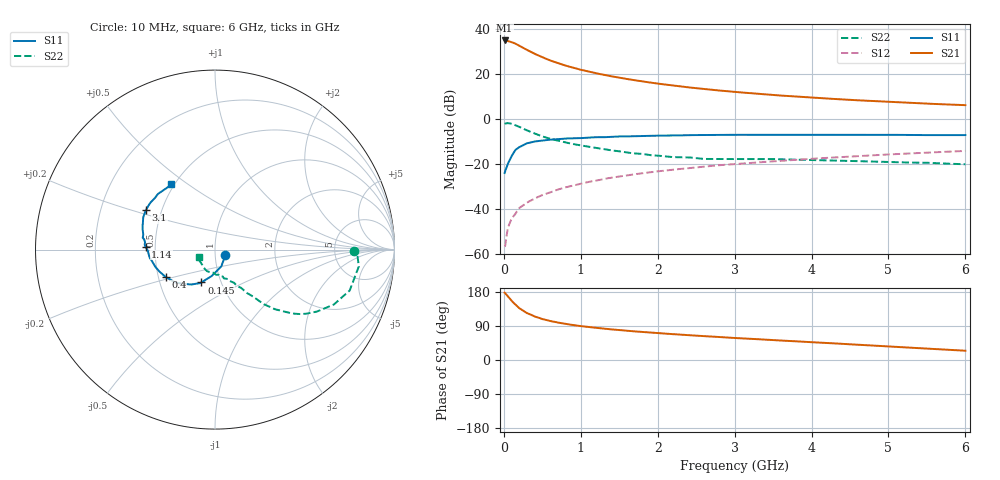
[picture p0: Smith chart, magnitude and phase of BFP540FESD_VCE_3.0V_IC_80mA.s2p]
! Infineon Technologies  Discrete & RF Semiconductors
! BFP540FESD
! VCE =  3.0 V,  IC =  80 mA
! Common Emitter S-Parameters:  Nov 2015
# GHz  S  MA  R  50
!  f  S11  S21  S12  S22
! GHz  MAG  ANG  MAG  ANG  MAG  ANG  MAG  ANG
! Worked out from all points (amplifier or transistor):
!   210 points, 10 MHz to 6 GHz, reference 50 ohm
!   highest |S21| = 34.8 dB at 10 MHz (marker M1)
!   |S21| within 3 dB of that: start of sweep to 236.2 MHz
!   unconditionally stable (mu >= 1): start of sweep to 46.8 MHz; 820.1 MHz to end of sweep
!   at 185 MHz: K = 0.66, MSG = 36.5 dB, |S12| = -40.3 dB
!   at 1.52 GHz: K = 1.09, MAG = 19.9 dB, |S12| = -25.5 dB
!   at 6 GHz: K = 1.22, MAG = 7.3 dB, |S12| = -14.2 dB
!   S11 on the Smith chart (normalised r, x): 10 MHz: 1.12, -0.06; 145 MHz: 0.81, -0.31; 400 MHz: 0.55, -0.18; 1.14 GHz: 0.44, +0.02; 3.1 GHz: 0.41, +0.22; 6 GHz: 0.48, +0.43
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0.01  0.0631 -26.6  54.91 177.6  0.0015 117.0  0.7722 -0.4
0.02  0.0717 -44.2  53.37 175.7  0.0016 116.2  0.7894 0.2
0.05  0.1 -69.6  53.6 168.4  0.0036 85.7  0.8067 -6.7
0.1  0.1485 -97.2  50.66 156.1  0.006 83.1  0.7843 -16.9
0.145  0.1979 -112.6  47.08 146.9  0.0076 79.0  0.7343 -24.0
0.15  0.204 -113.8  46.77 145.8  0.0078 78.6  0.7295 -24.8
0.2  0.2355 -124.3  42.06 136.9  0.0105 73.2  0.6647 -31.3
0.26  0.2664 -134.7  36.95 128.8  0.0124 74.0  0.5985 -36.9
0.3  0.2872 -140.4  33.95 123.8  0.0138 73.2  0.5567 -39.7
0.4  0.3148 -151.1  27.76 114.8  0.0171 74.4  0.4719 -44.8
0.5  0.3325 -158.3  23.25 108.1  0.0204 73.4  0.408 -48.2
0.6  0.3458 -163.8  19.8 103.0  0.0233 72.4  0.3621 -49.9
0.8  0.3666 -172.8  15.25 95.2  0.0302 72.0  0.299 -53.7
1.02  0.3758 -179.5  12.07 89.1  0.0369 71.9  0.2544 -56.2
1.14  0.3875 177.5  10.83 86.3  0.041 71.8  0.2353 -58.7
1.5  0.4082 170.7  8.183 79.0  0.0528 69.9  0.1914 -65.4
2.02  0.4254 161.7  6.002 70.7  0.0691 66.4  0.1518 -78.2
2.48  0.437 156.2  4.838 64.5  0.083 63.7  0.1357 -90.0
3.1  0.4432 150.3  3.842 57.1  0.1022 59.6  0.1287 -103.2
4.1  0.4438 142.8  2.896 45.9  0.1334 53.1  0.121 -118.5
5.1  0.4421 134.4  2.349 34.6  0.1656 45.2  0.1091 -133.0
6  0.4368 123.8  2.015 24.5  0.1945 37.4  0.0984 -154.8
